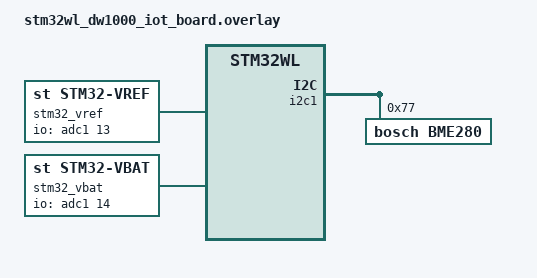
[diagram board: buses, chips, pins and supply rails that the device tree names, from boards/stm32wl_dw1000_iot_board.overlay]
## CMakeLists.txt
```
cmake_minimum_required(VERSION 3.20.0)

find_package(Zephyr REQUIRED HINTS $ENV{ZEPHYR_BASE})
project(stm32wle5_rtos_sensor)

FILE(GLOB app_sources src/*.c)
target_sources(app PRIVATE ${app_sources})
```

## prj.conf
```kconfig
# Debugger support
CONFIG_UART_CONSOLE=y
CONFIG_CONSOLE=y

# Communication Bus Support
CONFIG_GPIO=y
CONFIG_SPI=y
CONFIG_I2C=y

# Hardware Support
CONFIG_SENSOR=y
CONFIG_ADC=y

# Power Management Support
CONFIG_PM=n
CONFIG_PM_DEVICE=n
CONFIG_PM_DEVICE_RUNTIME=n
CONFIG_PM_DEVICE_RUNTIME_EXCLUSIVE=n

# Flash Memory Support
CONFIG_NVS=y
CONFIG_FLASH=y
CONFIG_FLASH_PAGE_LAYOUT=y
CONFIG_MPU_ALLOW_FLASH_WRITE=y

# Stack Support
CONFIG_MAIN_STACK_SIZE=2048
CONFIG_SYSTEM_WORKQUEUE_STACK_SIZE=2048
```

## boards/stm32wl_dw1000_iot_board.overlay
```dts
/*
 * Copyright (c) 2023
 * Regis Rousseau
 * Univ Lyon, INSA Lyon, Inria, CITI, EA3720
 * SPDX-License-Identifier: Apache-2.0
 */

/* VREF internal voltage monitoring */
/* internal voltage reference of STM32, IN13 - see datasheet pg 42/149 */
/* Vrefint = 1232mV max - see datasheet pg 78/149, table 36 */
/ {
	stm32_vref: stm32vref {
    	compatible = "st,stm32-vref";
		io-channels = <&adc1 13>;
		vrefint-cal-addr = <13>;
		vrefint-cal-mv = <1232>;
    	status = "okay";
	};
};

/* VBAT battery voltage monitoring - see datasheet pg 42/149, part 3.18.3 */
/* internal ADC channnel of STM32, IN14 */
/* ratio = 3 -> the converted digital value is 1/3 of vbat */
/ {
	stm32_vbat: stm32vbat {
    	compatible = "st,stm32-vbat";
    	io-channels = <&adc1 14>;
   		ratio = <3>;
    	status = "okay";
	};
};

/* config of BME280 sensor (temperature and humidity) on i2c bus */
/* address 0x77 --> Address Chip Select on high level (VDD) */
&i2c1 {
	status = "okay";
	bme280@77 {
		compatible = "bosch,bme280";
		reg = <0x77>;
	};
};
```

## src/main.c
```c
/*
 * Copyright (c) 2023
 * Regis Rousseau
 * Univ Lyon, INSA Lyon, Inria, CITI, EA3720
 * SPDX-License-Identifier: Apache-2.0
 */

#include "app_flash.h"
#include "app_bme280.h"
#include "app_vbat.h"

//  ======== interrupt sub-routine ===============================
void sens_work_handler(struct k_work *work_rtc)
{
	struct nvs_fs flash;

	printk("sensor handler called\n");
	app_flash_handler(&flash);
}
K_WORK_DEFINE(sens_work, sens_work_handler);

void sens_timer_handler(struct k_timer *rtc_dum)
{
	k_work_submit(&sens_work);
}
K_TIMER_DEFINE(sens_timer, sens_timer_handler, NULL);

//  ======== main ===============================================
int main(void)
{
	const struct device *bme_dev;
	const struct device *bat_dev;
	const struct device *ref_dev;
	struct nvs_fs flash;

	// setup all devices
	app_bme280_init(bme_dev);
	app_stm32_vbat_init(bat_dev);
	app_stm32_vref_init(ref_dev);
	app_flash_init(&flash);

	printk("Sensor BME280 and Battery Example\nBoard: %s\n", CONFIG_BOARD);

	// beginning of interrupt subroutine
//	k_timer_start(&sens_timer, K_NO_WAIT, K_MSEC(2000));		// for test

	bat_dev = DEVICE_DT_GET_ONE(st_stm32_vbat);
	ref_dev = DEVICE_DT_GET_ONE(st_stm32_vref);
	while (1) {
		uint16_t vref = app_stm32_get_vref(ref_dev);
		uint16_t vbat = app_stm32_get_vbat(bat_dev, vref);
		k_sleep(K_MSEC(2000));
	}
	return 0;
}
```

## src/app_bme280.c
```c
/*
 * Copyright (c) 2023
 * Regis Rousseau
 * Univ Lyon, INSA Lyon, Inria, CITI, EA3720
 * SPDX-License-Identifier: Apache-2.0
 */

#include "app_bme280.h"

//  ======== app_bme280_init ============================================
int8_t app_bme280_init(const struct device *dev)
{
    // getting bme280 sensor i2c device (SDA: PA10, SCL:PA8)
    dev = DEVICE_DT_GET_ANY(bosch_bme280);
    if (dev == NULL) {
        printk("error: no bme280 device found\n");
		return 0;
	}

    if (!device_is_ready(dev)) {
		printk("error: bme280 is not ready\n");
		return 0;
	} else {
        printk("- found device \"%s\", getting bme280 data\n", dev->name);
    }
    return 0;
}

//  ======== app_bme280_get_temp ========================================
uint16_t app_bme280_get_temp(const struct device *dev)
{
    struct sensor_value temp_int32;
    uint16_t temp_uint16;
    int8_t ret;

    // fetching data
	ret = sensor_sample_fetch(dev);
    if (ret < 0 && ret != -EBADMSG) { 
	    printk("bme280 device sample is not up to date. error: %d\n", ret);
	    return 0;
    }

    // getting channel function
	ret = sensor_channel_get(dev, SENSOR_CHAN_AMBIENT_TEMP, &temp_int32);
    if (ret < 0) {
        printk("can't read sensor channels. error: %d\n", ret);
	    return 0;
    }
    
    // temperature received from channel get
    // resolution 12 bits: 0 to 4095 (uint16)
    temp_uint16 = (uint16_t)(sensor_value_to_milli(&temp_int32)/1000);
    printk("bme280 temp: %"PRIu16"\n", temp_uint16);
    return temp_uint16;
}

//  ======== app_bme280_get_press =======================================
uint16_t app_bme280_get_press(const struct device *dev)
{
    struct sensor_value press_int32;
    uint16_t press_uint16;
    int8_t ret;


    // fetching data
	ret = sensor_sample_fetch(dev);
    if (ret < 0 && ret != -EBADMSG) { 
	    printk("bme280 device sample is not up to date. error: %d\n", ret);
	    return 0;
    }

    // getting channel function
	ret = sensor_channel_get(dev, SENSOR_CHAN_PRESS, &press_int32);
    if (ret < 0) {
        printk("can't read sensor channels. error: %d\n", ret);
	    return 0;
    }

    // pressure received from channel get
    // resolution 12 bits: 0 to 4095 (uint16)
    press_uint16 = (uint16_t)(sensor_value_to_milli(&press_int32)/1000);
    printk("bme280 pressure: %"PRIu16"\n", press_uint16);
    return press_uint16;
}

//  ======== app_bme280_get_hum =========================================
uint16_t app_bme280_get_hum(const struct device *dev)
{
    struct sensor_value hum_int32;
    uint16_t hum_uint16;
    int8_t ret;

    // fetching data
	ret = sensor_sample_fetch(dev);
    if (ret < 0 && ret != -EBADMSG) { 
	    printk("bme280 device sample is not up to date. error: %d\n", ret);
	    return 0;
    }

    // getting channel function
	ret = sensor_channel_get(dev, SENSOR_CHAN_HUMIDITY, &hum_int32);
    if (ret < 0) {
        printk("can't read sensor channels. error: %d\n", ret);
	    return 0;
    }

    // humidity received from channel get
    // resolution 12 bits: 0 to 4095 (uint16)
	hum_uint16 = (uint16_t)(100-(sensor_value_to_milli(&hum_int32)/1000));
    printk("bme280 humidity: %"PRIu16"\n", hum_uint16);
    return hum_uint16;
}
```

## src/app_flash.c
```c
/*
 * Copyright (c) 2023
 * Regis Rousseau
 * Univ Lyon, INSA Lyon, Inria, CITI, EA3720
 * SPDX-License-Identifier: Apache-2.0
 */

#include "app_vbat.h"
#include "app_bme280.h"
#include "app_flash.h"

//  ======== globals ============================================
int8_t ind;		// declaration of isr index

//  ======== app_flash_init =====================================
int8_t app_flash_init(struct nvs_fs *fs)
{
	struct flash_pages_info info;
	int8_t ret;
	ssize_t size;

	// configuration of storage partition in flash memory
	fs->flash_device = NVS_PARTITION_DEVICE;
	if (!device_is_ready(fs->flash_device)) {
		printk("flash device \"%s\" is not ready\n", fs->flash_device->name);
		return 0;
	} else {
		printk("- found device: \"%s\", getting nvs memory\n", fs->flash_device->name);
	}

	fs->offset = NVS_PARTITION_OFFSET;
	ret = flash_get_page_info_by_offs(fs->flash_device, fs->offset, &info);
	if (ret) {
		printk("unable to get page info. error: %d\n", ret);
		return 0;
	}
	
	fs->sector_size = info.size;
	if (!fs->sector_size || fs->sector_size % info.size) {
		printk("invalid sector size\n");
		return 0;
	}
	printk("sector size: %d\n", info.size);

	// mounting data storage partition in flash memory
	fs->sector_count = 4U;
	ret = nvs_mount(fs);
	if (ret) {
		printk("flash init failed. error: %d\n", ret);
		return 0;
	}

	// cleaning data storage partition
	(void)nvs_delete(fs, NVS_SENSOR_ID);
	size =  nvs_calc_free_space(fs);
	printk("flash memory partition size: %d\n", size);

	// initialisation of isr index
	ind = 0;	
	return 0;
}

//  ======== app_flash_write ====================================
int8_t app_flash_store(struct nvs_fs *fs, struct vtph *data)
{	
	// writing data in the first page of 2kbytes
	(void)nvs_write(fs, NVS_SENSOR_ID, &data, sizeof(data));

	// printing data to be stored in memory
	for (ind = 0; ind < NVS_MAX_RECORDS; ind++) {
		printk("wrt -> vbat: %"PRIu16", temp: %d, press: %"PRIu16", hum: %"PRIu16"\n", data[ind].vbat, data[ind].temp, data[ind].press, data[ind].hum);
	}

	// reading the first page
	(void)nvs_read(fs, NVS_SENSOR_ID, &data, sizeof(data));

	// printing data stored in memory
	for (ind = 0; ind < NVS_MAX_RECORDS; ind++) {
		printk("rd -> vbat: %"PRIu16", temp: %"PRIu16", press: %"PRIu16", hum: %"PRIu16"\n", data[ind].vbat, data[ind].temp, data[ind].press, data[ind].hum);
	}
	return 0;
}

//  ======== app_flash_handler ==================================
int8_t app_flash_handler(struct nvs_fs *fs)
{
	uint16_t vbat, temp, press, hum;
	const struct device *bme_dev;
	const struct device *bat_dev;
	const struct device *ref_dev;
	uint16_t vref;
	struct vtph data[NVS_MAX_RECORDS];

	// getting all sensor devices
	bat_dev = DEVICE_DT_GET_ONE(st_stm32_vbat);
	ref_dev = DEVICE_DT_GET_ONE(st_stm32_vref);
	bme_dev = DEVICE_DT_GET_ANY(bosch_bme280);
	vref = app_stm32_get_vref(ref_dev);

	// putting n structures in fisrt page for this test
	while (ind < NVS_MAX_RECORDS) {
		data[ind].vbat = app_stm32_get_vbat(bat_dev, vref);
		data[ind].temp = app_bme280_get_temp(bme_dev);
		data[ind].press = app_bme280_get_press(bme_dev);
		data[ind].hum = app_bme280_get_hum(bme_dev);
		ind++;
	}
	// writing and reading stored data
	app_flash_store(fs, &data);

	// cleaning data storage partitiony
	(void)nvs_delete(fs, NVS_SENSOR_ID);
	ind = 0;
	return 0;
}
```

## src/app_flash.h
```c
/*
 * Copyright (c) 2023
 * Regis Rousseau
 * Univ Lyon, INSA Lyon, Inria, CITI, EA3720
 * SPDX-License-Identifier: Apache-2.0
 */

#ifndef APP_FLASH_H
#define APP_FLASH_H

//  ======== includes ==============================================
#include <zephyr/kernel.h>
#include <zephyr/device.h>
#include <zephyr/drivers/flash.h>
#include <zephyr/drivers/eeprom.h>
#include <zephyr/storage/flash_map.h>

//  ======== globals ===============================================
struct vtph {
	uint16_t vbat;
	uint16_t temp;
	uint16_t press;
	uint16_t hum;
};

//  ======== defines ===============================================
#define FLASH_DEVICE			DEVICE_DT_GET_OR_NULL(DT_CHOSEN(zephyr_flash_controller))
//#define FLASH_PARTITION			storage_partition
//#define FLASH_DEVICE			FIXED_PARTITION_DEVICE(FLASH_PARTITION)
#define FLASH_OFFSET			0x0003f000 
//FIXED_PARTITION_OFFSET(FLASH_PARTITION)	// 2x2048 bits at the end of flash
#define FLASH_SIZE				4096		// 3kB to store sensor data
#define SENS_MAX_RECORDS        2       	// 1 structure: 4 samples (vbat, temp, press, hum) = 8 bytes
                                        	// 2 records for the test                                     

//  ======== prototypes ============================================
int8_t app_flash_init(const struct device *dev);
int8_t app_flash_write(const struct device *dev, struct vtph *data);
int8_t app_flash_read(const struct device *dev);
int8_t app_flash_handler(const struct device *dev);

#endif /* APP_FLASH_H */
```

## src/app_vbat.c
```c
/*
 * Copyright (c) 2023
 * Regis Rousseau
 * Univ Lyon, INSA Lyon, Inria, CITI, EA3720
 * SPDX-License-Identifier: Apache-2.0
 */

#include "app_vbat.h"

//  ======== app_stm32_vbat_init ============================================
int8_t app_stm32_vbat_init(const struct device *dev)
{
    // getting internal vbat ADC device at GPIO IN5 - PB1
    dev = DEVICE_DT_GET_ONE(st_stm32_vbat);

    if (dev == NULL) {
        printk("error: no stm32 vbat device found\n");
		return 0;
	}

    if (!device_is_ready(dev)) {
		printk("error: stm32 vbat is not ready\n");
		return 0;
	} else {
        printk("- found device \"%s\", getting vbat data\n", dev->name);
    }
    return 0;
}

//  ======== app_stm32_get_vbat =============================================
uint16_t app_stm32_get_vbat(const struct device *dev)
{
    struct sensor_value bat_int32;
    uint16_t bat_uint16;
    int8_t ret = 0;

    // fetching data
    ret = sensor_sample_fetch(dev);
    if (ret < 0 && ret != -EBADMSG) {        
	    printk("error: stm32 vbat sample is not up to date\n");
	    return 0;
    }

    // getting channel function
	ret = sensor_channel_get(dev, SENSOR_CHAN_VOLTAGE, &bat_int32);
    if (ret < 0) {
        printk("error: can't read sensor channels\n");
	    return 0;
    }

    // battery level received and converted from channel get
    // resolution 12bits: 0 to 4095 (uint16)
    bat_uint16 = (uint16_t)(sensor_value_to_milli(&bat_int32));
    printk("stm32 vbat: %"PRIu16"\n", bat_uint16);
    return bat_uint16;
}
```
